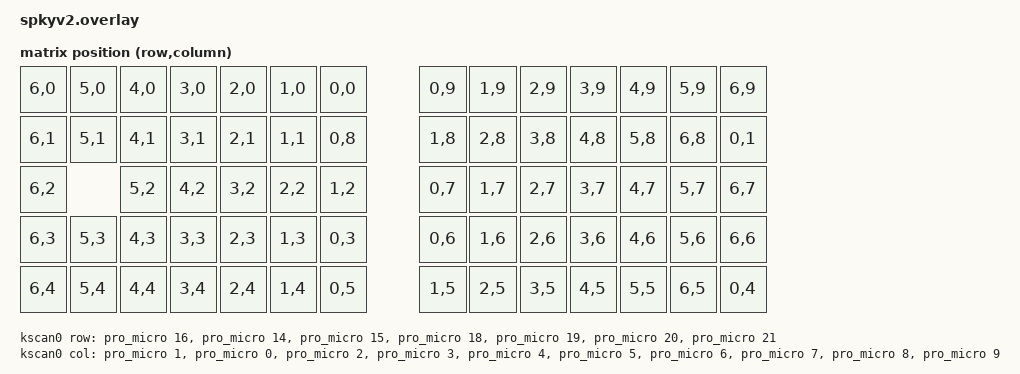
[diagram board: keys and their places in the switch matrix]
/*
 * Copyright (c) 2020 Pete Johanson, Ryan Cross
 *
 * SPDX-License-Identifier: MIT
 */

#include <dt-bindings/zmk/matrix_transform.h>

/ {
    chosen {
        zmk,kscan = &kscan0;
        zmk,matrix_transform = &default_transform;
    };

    default_transform: keymap_transform_0 {
        compatible = "zmk,matrix-transform";
        columns = <14>;
        rows = <5>;
        map = <
RC(6,0) RC(5,0) RC(4,0) RC(3,0) RC(2,0) RC(1,0) RC(0,0)         RC(0,9) RC(1,9) RC(2,9) RC(3,9) RC(4,9) RC(5,9)     RC(6,9)
RC(6,1)    RC(5,1) RC(4,1) RC(3,1) RC(2,1) RC(1,1)          RC(0,8) RC(1,8) RC(2,8) RC(3,8) RC(4,8) RC(5,8) RC(6,8) RC(0,1)
RC(6,2)       RC(5,2) RC(4,2) RC(3,2) RC(2,2) RC(1,2)           RC(0,7) RC(1,7) RC(2,7) RC(3,7) RC(4,7) RC(5,7)     RC(6,7)
RC(6,3) RC(5,3) RC(4,3) RC(3,3) RC(2,3) RC(1,3) RC(0,3)         RC(0,6) RC(1,6) RC(2,6) RC(3,6) RC(4,6) RC(5,6)     RC(6,6)
RC(6,4) RC(5,4) RC(4,4) RC(3,4)    RC(2,4)    RC(1,4)           RC(0,5)   RC(1,5)   RC(2,5) RC(3,5) RC(4,5) RC(5,5) RC(6,5) RC(0,4)
        >;
    };

/*
                         +---+       +---+
                         |0,5|   +---+0,8|
+---+       +---+        +---+---+0,7+---+---+
|0,0+---+   |0,3|        |   |0,6+---+1,8|0,9|
+---+1,1+---+---+---+    |1,5+---+1,7+---+---+
|1,0+---+1,2|1,3|1,4|    +---+1,6+---+2,8|1,9|
+---+2,1+---+---+---+    |   +---+2,7+---+---+
|2,0+---+2,2|2,3|2,4|    |2,5|2,6+---+3,8|2,9|
+---+3,1+---+---+---+    +---+---+3,7+---+---+
|3,0+---+3,2|3,3|3,4|    |3,5|3,6+---+4,8|3,9|
+---+4,1+---+---+---+    +---+---+4,7+---+---+
|4,0+---+4,2|4,3|4,4|    |4,5|4,6+---+5,8|4,9|
+---+5,1+---+---+---+    +---+---+5,7+---+---+
|5,0+---+5,2|5,3|5,4|    |5,5|5,6+---+6,8|5,9|
+---+6,1|   +---+---+    +---+---+6,7+---+---+
|6,0|   |   |6,3|6,4|    |6,5|6,6|   |0,1|6,9|
+---+---+---+---+---+    +---+---+---+---+---+
                         |0,4|
                         +---+
and rotate back to normal orientation we get:

+---+---+---+---+---+---+---+        +---+---+---+---+---+---+-----+
|60 |50 |40 |30 |20 |10 |00 |        |09 | 19| 29| 39|49 |59 | 69  |
+---+-+-+-+-+-+-+-+-+-+-+-+-+      +-+-+-+-+-+-+-+-+-+-+-+-+-+-+---+
| 6,1 |51 |41 |31 |21 |11 |        |08 |18 |28 |38 |48 | 58|68 |01 |
+-----++--++--++--++--++--++       ++--++--++--++--++--+---+---+---+
| 6,2  |52 |42 |32 |22 |12 |        |07 |17 | 27|37 |47|57 |  67   |
+---+--++--++--++--++--++--++       +-+-+-+-++--++--++-+-+-+---+---+
|63 |53 |43 |33 |23 |13 |03 |         |06 |16|26 |36 |46 | 5,6 |66 |
+---+---+---+---+---+-+-+---++       ++---+--+--++-+-+-+-+-+---+---+---+
|64 |54 |44 |34 |24   |14    |       |0,5 |1,5  |25|35 |45 |55 |65 |04 |
+---+---+---+---+-----+------+       +----+-----+--+---+---+---+---+---+


*/


    kscan0: kscan {
        compatible = "zmk,kscan-gpio-matrix";

        diode-direction = "col2row";
        row-gpios
            = <&pro_micro 16 (GPIO_ACTIVE_HIGH | GPIO_PULL_DOWN)>
            , <&pro_micro 14 (GPIO_ACTIVE_HIGH | GPIO_PULL_DOWN)>
            , <&pro_micro 15 (GPIO_ACTIVE_HIGH | GPIO_PULL_DOWN)>
            , <&pro_micro 18 (GPIO_ACTIVE_HIGH | GPIO_PULL_DOWN)>
            , <&pro_micro 19 (GPIO_ACTIVE_HIGH | GPIO_PULL_DOWN)>
            , <&pro_micro 20 (GPIO_ACTIVE_HIGH | GPIO_PULL_DOWN)>
            , <&pro_micro 21 (GPIO_ACTIVE_HIGH | GPIO_PULL_DOWN)>
            ;

        col-gpios
            = <&pro_micro 1 GPIO_ACTIVE_HIGH>
            , <&pro_micro 0 GPIO_ACTIVE_HIGH>
            , <&pro_micro 2 GPIO_ACTIVE_HIGH>
            , <&pro_micro 3 GPIO_ACTIVE_HIGH>
            , <&pro_micro 4 GPIO_ACTIVE_HIGH>
            , <&pro_micro 5  GPIO_ACTIVE_HIGH>
            , <&pro_micro 6  GPIO_ACTIVE_HIGH>
            , <&pro_micro 7  GPIO_ACTIVE_HIGH>
            , <&pro_micro 8  GPIO_ACTIVE_HIGH>
            , <&pro_micro 9  GPIO_ACTIVE_HIGH>
            ;
    };

};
